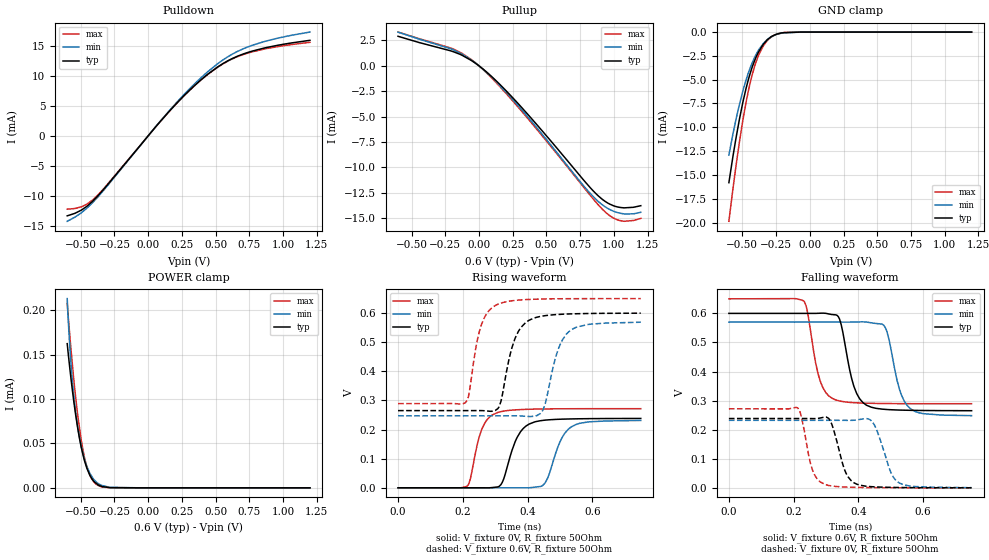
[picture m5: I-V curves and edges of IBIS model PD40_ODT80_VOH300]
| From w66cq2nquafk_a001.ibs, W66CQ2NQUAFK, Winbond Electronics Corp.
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[Model]   PD40_ODT80_VOH300
Model_type   I/O
Polarity   Non-Inverting
Enable   Active-Low
Vinl = 0.08
Vinh = 0.22
Vmeas = 0.15
Vref = 0
Cref = 0pF
Rref = 80
|   typ   min   max
C_comp   0.85pF   0.80pF   0.90pF
[Voltage Range]   0.6   0.57   0.65
[Temperature Range]   25   105   -40
[Pullup Reference]   0.6   0.57   0.65
[Pulldown Reference]   0   0   0
[Power Clamp Reference]   0.6   0.57   0.65
[GND Clamp Reference]   0   0   0
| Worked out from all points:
|   slope of the pulldown table from 0 to 0.09 V, typ, clamps not added: 37.4 ohm
|   slope of the pullup table from 0 to 0.09 V, typ, clamps not added: 89.1 ohm
|   GND clamp passes 1 mA (typ) near -0.33 V on its own axis
|   falling waveform, V_fixture 0.6V, R_fixture 50Ohm: 20-80 % time 39.7ps typ, 40.2ps min, 37.3ps max; typ from 0.6 V to 0.265 V
|   rising waveform, V_fixture 0V, R_fixture 50Ohm: 20-80 % time 46ps typ, 47.1ps min, 37.9ps max; typ from 0 V to 0.238 V
|   rising waveform, V_fixture 0.6V, R_fixture 50Ohm: 20-80 % time 45.5ps typ, 46.7ps min, 39.7ps max; typ from 0.265 V to 0.6 V
|   falling waveform, V_fixture 0V, R_fixture 50Ohm: 20-80 % time 37.2ps typ, 42.1ps min, 31.8ps max; typ from 0.238 V to 0 V
[Pulldown]
|   Voltage   I(typ)   I(min)   I(max)
-600mV    -13.36mA   -14.27mA   -12.25mA
-496mV    -12.41mA   -12.86mA   -11.86mA
-453.7mV  -11.76mA   -12.07mA   -11.41mA
-405.6mV  -10.79mA   -11.01mA   -10.6mA
-310.8mV  -8.428mA   -8.578mA   -8.342mA
166.8mV   4.361mA    4.46mA     4.351mA
350.9mV   8.554mA    8.842mA    8.525mA
510.9mV   11.45mA    11.98mA    11.4mA
624mV     12.93mA    13.66mA    12.87mA
769.7mV   14.16mA    15.12mA    14.04mA
956.4mV   15.13mA    16.31mA    14.91mA
1.2V      15.98mA    17.36mA    15.64mA
[GND Clamp]
|   Voltage   I(typ)   I(min)   I(max)
-600mV    -15.82mA   -12.92mA   -19.87mA
-570.1mV  -13.08mA   -10.72mA   -16.49mA
-522mV    -9.174mA   -7.618mA   -11.56mA
-495.4mV  -7.314mA   -6.137mA   -9.176mA
-453.7mV  -4.904mA   -4.214mA   -6.05mA
-430.2mV  -3.812mA   -3.329mA   -4.637mA
-384.9mV  -2.244mA   -2.02mA    -2.608mA
-340mV    -1.205mA   -1.138mA   -1.348mA
-286.2mV  -484.5uA   -500.7uA   -521.8uA
-190.5mV  -63.38uA   -84.56uA   -47.34uA
-59.4mV   -1.345uA   -4.136uA   -518nA
1.2V      0A         0A         0A
[Pullup]
|   Voltage   I(typ)   I(min)   I(max)
-600mV    2.903mA    3.311mA    3.32mA
-190.5mV  1.386mA    1.569mA    1.654mA
-124.9mV  1.03mA     1.142mA    1.22mA
-39.05mV  369.4uA    400.3uA    435uA
84.45mV   -941.7uA   -998uA     -1.068mA
271.5mV   -3.444mA   -3.629mA   -3.775mA
769.7mV   -11.14mA   -11.71mA   -11.83mA
884.9mV   -12.8mA    -13.35mA   -13.68mA
956.1mV   -13.51mA   -14.04mA   -14.61mA
1.027V    -13.89mA   -14.44mA   -15.16mA
1.079V    -13.97mA   -14.57mA   -15.3mA
1.2V      -13.76mA   -14.41mA   -15.01mA
[POWER Clamp]
|   Voltage   I(typ)   I(min)   I(max)
-600mV    162.4uA    213.1uA    207.7uA
-588.6mV  145.7uA    178.8uA    185.9uA
-580mV    133.8uA    157.2uA    170.2uA
-560.4mV  108.3uA    118.2uA    136.6uA
-538.8mV  83.71uA    87uA       104.1uA
-511.1mV  57.59uA    58.51uA    69.74uA
-494.5mV  44.68uA    45.79uA    52.15uA
-453.7mV  21.86uA    23.91uA    23.16uA
-429.7mV  13.45uA    15.68uA    13.31uA
-377.7mV  4.128uA    5.583uA    3.368uA
-281.9mV  219.6nA    575.9nA    75.25nA
1.2V      0A         0A         0A
[Ramp]
R_load = 50
|   typ   min   max
dV/dt_r 1.4295E-01/4.5915E-11   1.3881E-01/4.7035E-11   1.6308E-01/3.7671E-11
dV/dt_f 2.0084E-01/3.9618E-11   1.9305E-01/4.0152E-11   2.1643E-01/3.7196E-11
[Falling Waveform]
V_fixture = 0.6V
V_fixture_min = 0.57V
V_fixture_max = 0.65V
R_fixture = 50Ohm
C_fixture = 0F
|   Time   V(typ)   V(min)   V(max)
0s        600mV      570mV      650mV
232ps     600mV      570mV      642.1mV
282ps     600.6mV    570mV      367.7mV
334ps     593.5mV    570mV      301.2mV
395ps     324.2mV    570.5mV    292.3mV
473ps     270.8mV    563.1mV    290.1mV
488ps     269.4mV    538.6mV    289.9mV
527ps     267.5mV    339mV      289.6mV
551ps     266.8mV    283mV      289.5mV
750ps     265.3mV    248.3mV    289.3mV
[Rising Waveform]
V_fixture = 0V
V_fixture_min = 0V
V_fixture_max = 0V
R_fixture = 50Ohm
C_fixture = 0F
|   Time   V(typ)   V(min)   V(max)
0s        4.358uV    19.66uV    865.7nV
213ps     2.397uV    19.66uV    4.954mV
259ps     3.343uV    19.94uV    201.5mV
308ps     2.963mV    15.94uV    258.7mV
367ps     170.9mV    52uV       268mV
404ps     218.3mV    18.87uV    269.7mV
455ps     232.5mV    17.78mV    270.9mV
501ps     235.5mV    159.5mV    271.4mV
536ps     236.6mV    209.7mV    271.6mV
750ps     238.3mV    231.4mV    271.8mV
[Rising Waveform]
V_fixture = 0.6V
V_fixture_min = 0.57V
V_fixture_max = 0.65V
R_fixture = 50Ohm
C_fixture = 0F
|   Time   V(typ)   V(min)   V(max)
0s        265.2mV    247.2mV    289.3mV
208ps     265.1mV    247.2mV    292.1mV
258ps     265.2mV    247.2mV    561.5mV
308ps     271.6mV    247.2mV    630.4mV
360ps     508.5mV    247.3mV    643.6mV
404ps     575.1mV    244.9mV    647.1mV
448ps     590.3mV    267.6mV    648.6mV
495ps     595.5mV    476.2mV    649.4mV
527ps     597.2mV    535.6mV    649.7mV
750ps     599.9mV    568.8mV    650mV
[Falling Waveform]
|Gnd
V_fixture = 0V
V_fixture_min = 0V
V_fixture_max = 0V
R_fixture = 50Ohm
C_fixture = 0F
|   Time   V(typ)   V(min)   V(max)
0s        238.4mV    232.3mV    271.8mV
213ps     238.4mV    232.3mV    274.4mV
258ps     238.2mV    232.3mV    62.53mV
298ps     243.8mV    232.3mV    11.23mV
318ps     218.9mV    232.3mV    6.285mV
362ps     50.17mV    232.1mV    2.607mV
394ps     13.16mV    233.4mV    1.55mV
443ps     3.788mV    227.4mV    725.2uV
527ps     1.165mV    16.38mV    175.2uV
750ps     68.1uV     635.3uV    -10.67uV
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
